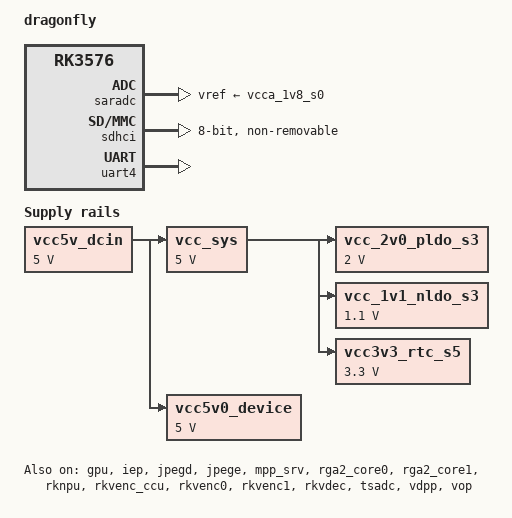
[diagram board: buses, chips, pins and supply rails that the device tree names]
#include <dt-bindings/gpio/gpio.h>
#include <dt-bindings/pwm/pwm.h>
#include <dt-bindings/pinctrl/rockchip.h>
#include <dt-bindings/input/rk-input.h>
#include <dt-bindings/display/drm_mipi_dsi.h>
#include <dt-bindings/display/rockchip_vop.h>
#include <dt-bindings/sensor-dev.h>

#include "rk3576.dtsi"
#include "rk3576-rk806.dtsi"

/ {
    model = "dragonfly";
    compatible = "dragonfly,rk3576", "rockchip,rk3576";

	chosen: chosen {
		bootargs = "earlycon=uart8250,mmio32,0x2ad40000 console=ttyFIQ0 root=PARTUUID=614e0000-0000 rw rootwait rcupdate.rcu_expedited=1 rcu_nocbs=all";
	};

	vcc5v_dcin: vcc5v-dcin {
		compatible = "regulator-fixed";
		regulator-name = "vcc5v_dcin";
		regulator-always-on;
		regulator-boot-on;
		regulator-min-microvolt = <5000000>;
		regulator-max-microvolt = <5000000>;
	};

	vcc_sys: vcc5v0-sys {
		compatible = "regulator-fixed";
		regulator-name = "vcc_sys";
		regulator-always-on;
		regulator-boot-on;
		regulator-min-microvolt = <5000000>;
		regulator-max-microvolt = <5000000>;
		vin-supply = <&vcc5v_dcin>;
	};

	vcc5v0_device: vcc5v0-device {
		compatible = "regulator-fixed";
		regulator-name = "vcc5v0_device";
		regulator-always-on;
		regulator-boot-on;
		regulator-min-microvolt = <5000000>;
		regulator-max-microvolt = <5000000>;
		vin-supply = <&vcc5v_dcin>;
	};

	vcc_2v0_pldo_s3: vcc-2v0-pldo-s3 {
		compatible = "regulator-fixed";
		regulator-name = "vcc_2v0_pldo_s3";
		regulator-boot-on;
		regulator-always-on;
		regulator-min-microvolt = <2000000>;
		regulator-max-microvolt = <2000000>;
		vin-supply = <&vcc_sys>;
	};

	vcc_1v1_nldo_s3: vcc-1v1-nldo-s3 {
		compatible = "regulator-fixed";
		regulator-name = "vcc_1v1_nldo_s3";
		regulator-boot-on;
		regulator-always-on;
		regulator-min-microvolt = <1100000>;
		regulator-max-microvolt = <1100000>;
		vin-supply = <&vcc_sys>;
	};

	vcc3v3_rtc_s5: vcc3v3-rtc-s5 {
		compatible = "regulator-fixed";
		regulator-name = "vcc3v3_rtc_s5";
		regulator-boot-on;
		regulator-always-on;
		regulator-min-microvolt = <3300000>;
		regulator-max-microvolt = <3300000>;
		vin-supply = <&vcc_sys>;
	};
};


&cpu_l0 {
	cpu-supply = <&vdd_cpu_lit_s0>;
};

&cpu_b0 {
	cpu-supply = <&vdd_cpu_big_s0>;
};

&gpu {
	mali-supply = <&vdd_gpu_s0>;
	status = "okay";
};

&iep {
	status = "okay";
};

&iep_mmu {
	status = "okay";
};

&jpegd {
	status = "okay";
};

&jpege {
	status = "okay";
};

&jpeg_mmu {
	status = "okay";
};

&mpp_srv {
	status = "okay";
};

&rga2_core0 {
	status = "okay";
};

&rga2_core0_mmu {
	status = "okay";
};

&rga2_core1 {
	status = "okay";
};

&rga2_core1_mmu {
	status = "okay";
};

&rknpu {
	rknpu-supply = <&vdd_npu_s0>;
	status = "okay";
};

&rknpu_mmu {
	status = "okay";
};

&rkvenc_ccu {
	status = "okay";
};

&rkvenc0 {
	status = "okay";
};

&rkvenc0_mmu {
	status = "okay";
};

&rkvenc1 {
	status = "okay";
};

&rkvenc1_mmu {
	status = "okay";

};

&rkvdec {
	status = "okay";
};

&rkvdec_mmu {
	status = "okay";
};

/*&rockchip_suspend {
	status = "disabled";

	rockchip,sleep-debug-en = <1>;
	rockchip,sleep-io-ret-config = <
		(0
		| RKPM_VCCIO3_RET_EN
		)
	>;
};*/

&saradc {
	status = "okay";
	vref-supply = <&vcca_1v8_s0>;
};

&tsadc {
	status = "okay";
};

// EMMC
&sdhci {
	bus-width = <8>;
	no-sdio;
	no-sd;
	non-removable;
	max-frequency = <200000000>;
	mmc-hs400-1_8v;
	mmc-hs400-enhanced-strobe;
	full-pwr-cycle-in-suspend;
	status = "okay";
};

&uart4 {
	status = "okay";
	pinctrl-names = "default";
	pinctrl-0 = <&uart4m1_xfer &uart4m1_ctsn>;
};


&vdpp {
	status = "okay";
};

&vop {
	status = "okay";
	/* vop-supply = <&vdd_logic_s0>; */
};

&vop_mmu {
	status = "okay";
};

&vp2 {
	assigned-clocks = <&cru DCLK_VP2_SRC>;
	assigned-clock-parents = <&cru PLL_VPLL>;
};
